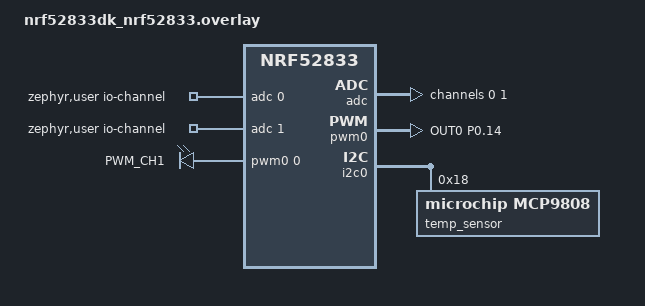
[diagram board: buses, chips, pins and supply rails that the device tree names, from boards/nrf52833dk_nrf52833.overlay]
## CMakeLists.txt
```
# SPDX-License-Identifier: Apache-2.0

cmake_minimum_required(VERSION 3.20.0)
find_package(Zephyr REQUIRED HINTS $ENV{ZEPHYR_BASE})
project(ecg-temp-ble-project)

# make sure to add the source code for new libraries
target_sources(app PRIVATE src/main.c src/read_temperature_sensor.c src/ble-lib.c src/heartrate.c)
```

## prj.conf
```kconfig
CONFIG_GPIO=y
CONFIG_LOG=y
CONFIG_ADC=y
CONFIG_PWM=y
CONFIG_SMF=y
CONFIG_SENSOR=y
CONFIG_MAIN_STACK_SIZE=8192
CONFIG_IDLE_STACK_SIZE=2048
CONFIG_LOG_BUFFER_SIZE=8192
CONFIG_I2C=y
CONFIG_EVENTS=y
# CONFIG_KERNEL=y

# Logging Thread Configuration
CONFIG_LOG_PROCESS_THREAD=y
CONFIG_MULTITHREADING=y
CONFIG_LOG_MODE_DEFERRED=y
CONFIG_LOG_FRONTEND_ONLY=n
CONFIG_LOG_MODE_MINIMAL=n
CONFIG_LOG_BUFFER_SIZE=8000
CONFIG_ADC_LOG_LEVEL_DBG=y
CONFIG_LOG_MODE_IMMEDIATE=y
CONFIG_FAULT_DUMP=2
CONFIG_THREAD_STACK_INFO=y
CONFIG_THREAD_ANALYZER=y


# BLE
CONFIG_BT=y
CONFIG_BT_PERIPHERAL=y
CONFIG_BT_DEVICE_NAME="Bytes & Bots"
CONFIG_BT_DEVICE_APPEARANCE=0
CONFIG_BT_MAX_CONN=1
CONFIG_BT_LL_SOFTDEVICE=y
CONFIG_BT_BAS=y 
CONFIG_BT_HRS=y
CONFIG_BT_SETTINGS=y
CONFIG_SETTINGS_RUNTIME=y
CONFIG_SETTINGS=y
CONFIG_SETTINGS_NONE=y

# DIS (Device Information Service)
CONFIG_BT_DIS=y
CONFIG_BT_DIS_SETTINGS=y
CONFIG_BT_DIS_STR_MAX=25
CONFIG_BT_DIS_MODEL="SmartTempSensor"
CONFIG_BT_DIS_MANUF="Future Innovators LLC"
CONFIG_BT_DIS_SERIAL_NUMBER=y
CONFIG_BT_DIS_SERIAL_NUMBER_STR="0001"
CONFIG_BT_DIS_FW_REV=y
CONFIG_BT_DIS_FW_REV_STR="1.0.0" 
CONFIG_BT_DIS_HW_REV=y
CONFIG_BT_DIS_HW_REV_STR="1.0.0"
CONFIG_BT_DIS_SW_REV=y
CONFIG_BT_DIS_SW_REV_STR="1.0.0"
CONFIG_BT_DIS_PNP=y
CONFIG_BT_DIS_PNP_VID_SRC=1
CONFIG_BT_DIS_PNP_VID=0x01FF
```

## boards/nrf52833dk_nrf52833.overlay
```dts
/ {
	aliases {

        // LED aliases
        heartbeat = &led0;  // this corresponds to LED1 on the board
        battery = &led1;  // this corresponds to LED2 on the board
        measure = &led2;  // this corresponds to LED3 on the board
        error = &led3;  // this corresponds to LED4 on the board

        // Button aliases
        measurebutton = &button0;  // Measure button corresponds to SW1 on the board
        clearbutton = &button1; // Clear button corresponds to SW2 on the board
        resetbutton = &button2;  // Reset button corresponds to SW3 on the board

        // ADC channel aliases
        temp = &temp_sensor;
        vadc0 = &vadc0;     // ADC channel 0; measures battery level (P0.02)
        vadc1 = &vadc1;  // ADC channel 2 does a differential measurement on ECG signal (P0.04 and P0.05)


        // PWM channel aliases
        pwm1 = &pwmch1;
    };

zephyr,user {
        io-channels = <&adc 0>, <&adc 1>;
};

pwm {
    compatible = "pwm-leds";
    pwmch1: pwm_1 {
        pwms = < &pwm0 0 PWM_MSEC(1) PWM_POLARITY_NORMAL>;  // 0 - channel
        label = "PWM_CH1";
    };

    };
};

&adc {
    #address-cells = <1>;
    #size-cells = <0>;

    vadc0: channel@0 {
            reg = <0>;  // channel number
            zephyr,reference = "ADC_REF_INTERNAL";  // voltage ref for SA (0.6 V)
            zephyr,gain = "ADC_GAIN_1_5"; // gain factor to scale ref voltage (1/gain)
            zephyr,acquisition-time = <ADC_ACQ_TIME_DEFAULT>;
            zephyr,input-positive = <NRF_SAADC_AIN0>; // P0.02
            zephyr,resolution = <8>;  // bit depth
    };

    vadc1: channel@1 {
        reg = <1>;  // channel number
        zephyr,reference = "ADC_REF_INTERNAL";
        zephyr,gain = "ADC_GAIN_1_5"; // gain factor to scale ref voltage (1/gain)
        zephyr,acquisition-time = <ADC_ACQ_TIME_DEFAULT>; //Use the example
        zephyr,input-positive = <NRF_SAADC_AIN2>; // P0.04
        zephyr,input-negative = <NRF_SAADC_AIN4>; // P0.28
        zephyr,resolution = <8>;  // bit depth
    };
};


&pwm0 {
    compatible = "nordic,nrf-pwm"; // PWM compatible
    reg = <0x4001c000 0x1000>; // PWM base address
    interrupts = <28 NRF_DEFAULT_IRQ_PRIORITY>; // PWM interrupt
    status = "okay"; // Enable the PWM
    #pwm-cells = <3>; // Number of cells in the PWM specifier
    pinctrl-0 = <&pwm0_default>; // Default pin configuration
    pinctrl-1 = <&pwm0_sleep>; // Sleep pin configuration
    pinctrl-names = "default", "sleep"; // Pin configuration names
};

&pinctrl {
    compatible = "nordic,nrf-pinctrl";
    status = "okay";
    pwm0_default: pwm0_default {
        group1 {
            psels = <NRF_PSEL(PWM_OUT0, 0, 14)>; // P0.14, channel 0
            nordic,invert;
        };
    };
    pwm0_sleep: pwm0_sleep {
        group1 {
            psels = <NRF_PSEL(PWM_OUT0, 0, 14)>; // P0.14, channel 0
            low-power-enable;
        };
    };
}; 

/* I2C Pin Mapping
SCK: P0.27
SDA: P0.26
*/

&i2c0 {
    temp_sensor: mcp9808@18{
        compatible = "microchip,mcp9808"; // Device compatible
        reg = <0x18>; // Device address
        status = "okay"; // Enable the device
    };

};
```

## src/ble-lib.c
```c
#include "ble-lib.h"

LOG_MODULE_REGISTER(blelib, LOG_LEVEL_DBG);

// define a semaphore to make sure that bt_init_ok() completes before proceeding
// this is probably overkill, but it's a good practice
static K_SEM_DEFINE(bt_init_ok, 1, 1);

#define DEVICE_NAME CONFIG_BT_DEVICE_NAME
#define DEVICE_NAME_LEN (sizeof(DEVICE_NAME)-1)
#define NOMINAL_BATTERY_VOLT_MV 3700  // this might make more sense to have in main.c

// extern means this is defined elsewhere (in this case, main.c)
extern int32_t temperature_degC;  // temperature data characteristic will read from this variable
extern struct k_event errors; // errors characteristic will read from this variable

enum bt_data_notifications_enabled notifications_enabled;


/* Advertising data */
static const struct bt_data ad[] = {
    BT_DATA_BYTES(BT_DATA_FLAGS, (BT_LE_AD_GENERAL | BT_LE_AD_NO_BREDR)),
    BT_DATA(BT_DATA_NAME_COMPLETE, DEVICE_NAME, DEVICE_NAME_LEN)
};

/* Scan response data */
static const struct bt_data sd[] = {
    BT_DATA_BYTES(BT_DATA_UUID128_ALL, BT_UUID_REMOTE_SERV_VAL), 
};

/* UUID of the Remote Service */
// Project ID: 065 (3rd entry)
// BLE MFG ID = 0x02DF (4th entry)
/*  UUID of Data Characteristic  */
struct bt_uuid_128 remote_temperature_data_uuid = BT_UUID_INIT_128(
    BT_UUID_128_ENCODE(0xe9ea0001, 0xe19b, 0x0065, 0x02DF, 0xc7907585fc48));
/*  UUID of Errors Characteristic  */
struct bt_uuid_128 remote_err_uuid = BT_UUID_INIT_128(
    BT_UUID_128_ENCODE(0xe9ea0002, 0xe19b, 0x0065, 0x02DF, 0xc7907585fc48));
/*  UUID of Message Characteristic   */
struct bt_uuid_128 remote_msg_uuid = BT_UUID_INIT_128(
    BT_UUID_128_ENCODE(0xe9ea0003, 0xe19b, 0x0065, 0x02DF, 0xc7907585fc48));

/* Setup services */
BT_GATT_SERVICE_DEFINE(remote_srv,
    BT_GATT_PRIMARY_SERVICE(BT_UUID_REMOTE_SERVICE),
    BT_GATT_CHARACTERISTIC(&remote_temperature_data_uuid.uuid,
                    BT_GATT_CHRC_READ | BT_GATT_CHRC_NOTIFY,
                    BT_GATT_PERM_READ,
                    read_temperature_data_cb, NULL, &temperature_degC),
    BT_GATT_CCC(ccc_cfg_changed_cb, BT_GATT_PERM_READ | BT_GATT_PERM_WRITE),
    BT_GATT_CHARACTERISTIC(&remote_err_uuid.uuid,
                    BT_GATT_CHRC_READ | BT_GATT_CHRC_NOTIFY,
                    BT_GATT_PERM_WRITE | BT_GATT_PERM_READ,
                    read_error_cb, NULL, &errors.events),
    BT_GATT_CCC(ccc_cfg_changed_cb, BT_GATT_PERM_READ | BT_GATT_PERM_WRITE),
    BT_GATT_CHARACTERISTIC(&remote_msg_uuid.uuid,
                    BT_GATT_CHRC_WRITE_WITHOUT_RESP,
                    BT_GATT_PERM_WRITE,
                    NULL, on_write, NULL),
    BT_GATT_CCC(ccc_cfg_changed_cb, BT_GATT_PERM_READ | BT_GATT_PERM_WRITE),
);

struct bt_conn *current_conn;
struct bt_conn_cb bluetooth_callbacks = {
    .connected = on_connected,
    .disconnected = on_disconnected,
};

struct bt_remote_srv_cb remote_service_callbacks = {
    .notif_changed = on_notif_changed,
    .data_rx = on_data_rx,
};

/* Callbacks */
void on_data_rx(struct bt_conn *conn, const uint8_t *const data, uint16_t len) {
    // copy the data to a temporary buffer and append a NULL character
    uint8_t temp_str[len+1];
    memcpy(temp_str, data, len);
    temp_str[len] = 0x00;  // append NULL character at the end
    LOG_INF("BT received data on conn %p. Len: %d", (void *)conn, len);
    LOG_INF("Data: %s", temp_str);
}

void on_connected(struct bt_conn *conn, uint8_t ret) {
    if (ret) {
        LOG_ERR("Connection error: %d", ret);
        return;
    }
    LOG_INF("BT connected");
    current_conn = bt_conn_ref(conn);
}

void on_disconnected(struct bt_conn *conn, uint8_t reason) {
    LOG_INF("BT disconnected (reason: %d)", reason);
    if (current_conn) {
        bt_conn_unref(current_conn);
        current_conn = NULL;
    }
}

void on_notif_changed(enum bt_data_notifications_enabled status) {
    if (status == BT_DATA_NOTIFICATIONS_ENABLED) {
        LOG_INF("BT notifications enabled");
    } else {
        LOG_INF("BT notifications disabled");
    }
}

const struct bt_gatt_attr *attr = &remote_srv.attrs[2];

void ccc_cfg_changed_cb(const struct bt_gatt_attr *attr, uint16_t value) {
    bool notif_enabled = (value == BT_GATT_CCC_NOTIFY);
    LOG_INF("Notifications: %s", notif_enabled? "enabled":"disabled");
    notifications_enabled = notif_enabled? BT_DATA_NOTIFICATIONS_ENABLED:BT_DATA_NOTIFICATIONS_DISABLED;
    if (remote_service_callbacks.notif_changed) {
        remote_service_callbacks.notif_changed(notifications_enabled);
    }
}

/* These callbacks are used when a read request is made to the remote service */
ssize_t read_temperature_data_cb(struct bt_conn *conn, const struct bt_gatt_attr *attr, void *buf, uint16_t len, uint16_t offset) {
    return bt_gatt_attr_read(conn, attr, buf, len, offset, &temperature_degC, sizeof(temperature_degC));
}

ssize_t read_error_cb(struct bt_conn *conn, const struct bt_gatt_attr *attr, void *buf, uint16_t len, uint16_t offset) {
    return bt_gatt_attr_read(conn, attr, buf, len, offset, &errors.events, sizeof(errors.events));
}

ssize_t on_write(struct bt_conn *conn, const struct bt_gatt_attr *attr, const void *buf, uint16_t len, uint16_t offset, uint8_t flags) {
    LOG_INF("Received data, handle %d, conn %p", attr->handle, (void *)conn);
    
    if (remote_service_callbacks.data_rx) {
        remote_service_callbacks.data_rx(conn, buf, len);
    }
    return len;
}


void on_sent(struct bt_conn *conn, void *user_data) {
    ARG_UNUSED(user_data);
    LOG_INF("Notification sent on connection %p", (void *)conn);
}

void bt_ready(int ret) {
    if (ret) {
        LOG_ERR("bt_enable returned %d", ret);
    }
    // release the thread once initialized
    k_sem_give(&bt_init_ok);
}

static int settings_runtime_load(void)
{
#if defined(CONFIG_BT_DIS_SETTINGS)
	settings_runtime_set("bt/dis/model",
			     CONFIG_BT_DIS_MODEL,
			     sizeof(CONFIG_BT_DIS_MODEL));
	settings_runtime_set("bt/dis/manuf",
			     CONFIG_BT_DIS_MANUF,
			     sizeof(CONFIG_BT_DIS_MANUF));
#if defined(CONFIG_BT_DIS_SERIAL_NUMBER)
	settings_runtime_set("bt/dis/serial",
			     CONFIG_BT_DIS_SERIAL_NUMBER_STR,
			     sizeof(CONFIG_BT_DIS_SERIAL_NUMBER_STR));
#endif
#if defined(CONFIG_BT_DIS_SW_REV)
	settings_runtime_set("bt/dis/sw",
			     CONFIG_BT_DIS_SW_REV_STR,
			     sizeof(CONFIG_BT_DIS_SW_REV_STR));
#endif
#if defined(CONFIG_BT_DIS_FW_REV)
	settings_runtime_set("bt/dis/fw",
			     CONFIG_BT_DIS_FW_REV_STR,
			     sizeof(CONFIG_BT_DIS_FW_REV_STR));
#endif
#if defined(CONFIG_BT_DIS_HW_REV)
	settings_runtime_set("bt/dis/hw",
			     CONFIG_BT_DIS_HW_REV_STR,
			     sizeof(CONFIG_BT_DIS_HW_REV_STR));
#endif
#endif
	return 0;
}


int bluetooth_init(struct bt_conn_cb *bt_cb, struct bt_remote_srv_cb *remote_cb) {
    LOG_INF("Initializing Bluetooth");
    if ((bt_cb == NULL) | (remote_cb == NULL)) {
        LOG_ERR("Invalid callback(s)");
        return -NRFX_ERROR_NULL;
    }
    bt_conn_cb_register(bt_cb);
    remote_service_callbacks.notif_changed = remote_cb->notif_changed;
    remote_service_callbacks.data_rx = remote_cb->data_rx;
    int ret = bt_enable(bt_ready);
    if (ret) {
        LOG_ERR("bt_enable returned %d", ret);
        return ret;
    }

    // hold the thread until Bluetooth is initialized
    k_sem_take(&bt_init_ok, K_FOREVER);
    if (IS_ENABLED(CONFIG_BT_SETTINGS)) {
        settings_load();
    }
    ret = bt_le_adv_start(BT_LE_ADV_CONN, ad, ARRAY_SIZE(ad), sd, ARRAY_SIZE(sd));
    if (ret) {
        LOG_ERR("Could not start advertising (ret = %d)", ret);
        return ret;
    }
    return ret;
}

/* BAS Functions */
uint8_t bluetooth_get_battery_level(void) {
    uint8_t battery_level;
    battery_level =  bt_bas_get_battery_level();
    LOG_INF("Battery Level: %d pct", battery_level);
    return battery_level;
}

void bluetooth_set_battery_level(int32_t raw_mV) {
    LOG_DBG("Raw Battery: %d mV", raw_mV);
    
    float normalized_level = (float)raw_mV * 100 / NOMINAL_BATTERY_VOLT_MV; //100
    
    LOG_INF("Normalized Battery Level: %lf", (double)normalized_level);
    int err = bt_bas_set_battery_level((int)normalized_level);
    if (err) {
        LOG_ERR("BAS set error (err = %d)", err);
    }
}
void notify_heart_rate(uint8_t heart_rate) {
    if (bt_hrs_notify(heart_rate) == 0) {
        LOG_INF("Heart rate notified: %d BPM", heart_rate);
    } else {
        LOG_ERR("Failed to notify heart rate.");
    }
}

int send_BT_notification(struct bt_conn *conn, uint8_t *value, uint16_t length) {
    if (!conn) {
        LOG_ERR("Invalid connection");
        return -EINVAL;
    }

    struct bt_gatt_notify_params params = {0};

    params.attr = &remote_srv.attrs[2]; // Update index based on your characteristic
    params.data = value;
    params.len = length;

    int ret = bt_gatt_notify_cb(conn, &params);
    if (ret) {
        LOG_ERR("Failed to send notification: %d", ret);
    } else {
        LOG_INF("Notification sent successfully");
    }
    return ret;
}

void check_and_send_temperature_notification(void) {
    if (current_conn && notifications_enabled == BT_DATA_NOTIFICATIONS_ENABLED) {
        int ret = send_BT_notification(current_conn, (uint8_t *)&temperature_degC, sizeof(temperature_degC));
        if (ret) {
            LOG_ERR("Failed to send temperature notification: %d", ret);
        } else {
            LOG_INF("Temperature notification sent.");
        }
    } else {
        LOG_WRN("No active connection or notifications not enabled, skipping notification.");
    }
}

/* Declare ecg_attrs and ecg_data */
static struct bt_gatt_attr ecg_attrs[] = {
    /* Add your ECG attributes here */
};

static uint8_t ecg_data[20]; // Adjust the size as needed

void send_ecg_notification(void) {
    if (current_conn && notifications_enabled == BT_DATA_NOTIFICATIONS_ENABLED) {
        struct bt_gatt_notify_params params = {0}; // Initialize the params structure

        params.attr = &ecg_attrs[0]; // Update index based on your ECG characteristic
        params.data = ecg_data; // Use the ECG data buffer
        params.len = sizeof(ecg_data); // Set the length of the data to send

        int ret = bt_gatt_notify_cb(current_conn, &params);
        if (ret < 0) {
            LOG_ERR("Failed to send ECG notification: %d", ret);
        } else {
            LOG_INF("ECG notification sent.");
        }
    } else {
        LOG_WRN("No active connection or notifications not enabled, ECG notification skipped.");
    }
}

void send_error_notification(void) {
    if (current_conn) {
        int ret = bt_gatt_notify(current_conn, &remote_err_uuid, &errors.events, sizeof(errors.events));
        if (ret < 0) {
            LOG_ERR("Failed to send error notification: %d", ret);
        } else {
            LOG_INF("Error notification sent.");
        }
    } else {
        LOG_WRN("No active connection, error notification skipped.");
    }
}
```

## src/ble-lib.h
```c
#ifndef BLE_LIB_H
#define BLE_LIB_H

#include <zephyr/kernel.h>
#include <zephyr/device.h>
#include <zephyr/logging/log.h>
#include <zephyr/bluetooth/bluetooth.h>
#include <zephyr/bluetooth/uuid.h>
#include <zephyr/bluetooth/gatt.h>
#include <zephyr/bluetooth/hci.h>
#include <zephyr/settings/settings.h>
#include <zephyr/bluetooth/services/bas.h> // Battery Service
#include <zephyr/bluetooth/services/hrs.h> // Heart Rate Service

/* UUID of the Remote Service */
// Project ID: 065 (3rd entry)
// MFG ID = 0x02DF (4th entry)

#define BT_UUID_REMOTE_SERV_VAL \
        BT_UUID_128_ENCODE(0xe9ea0000, 0xe19b, 0x0065, 0x02DF, 0xc7907585fc48)

#define BT_UUID_REMOTE_SERVICE          BT_UUID_DECLARE_128(BT_UUID_REMOTE_SERV_VAL)

enum bt_data_notifications_enabled {
    BT_DATA_NOTIFICATIONS_ENABLED,
    BT_DATA_NOTIFICATIONS_DISABLED,
};

struct bt_remote_srv_cb {
    void (*notif_changed)(enum bt_data_notifications_enabled status);
    void (*data_rx)(struct bt_conn *conn, const uint8_t *const data, uint16_t len);
};

int bluetooth_init(struct bt_conn_cb *bt_cb, struct bt_remote_srv_cb *remote_cb);
uint8_t bluetooth_get_battery_level(void);
void bluetooth_set_battery_level(int32_t level);

ssize_t on_write(struct bt_conn *conn, const struct bt_gatt_attr *attr, const void *buf, uint16_t len, uint16_t offset, uint8_t flags);
ssize_t read_temperature_data_cb(struct bt_conn *conn, const struct bt_gatt_attr *attr, void *buf, uint16_t len, uint16_t offset);
ssize_t read_error_cb(struct bt_conn *conn, const struct bt_gatt_attr *attr, void *buf, uint16_t len, uint16_t offset);
void ccc_cfg_changed_cb(const struct bt_gatt_attr *attr, uint16_t value);
void on_connected(struct bt_conn *conn, uint8_t ret);
void on_disconnected(struct bt_conn *conn, uint8_t reason);
void on_data_rx(struct bt_conn *conn, const uint8_t *const data, uint16_t len);
void on_notif_changed(enum bt_data_notifications_enabled status);
int send_BT_notification(struct bt_conn *conn, uint8_t *value, uint16_t length);

extern const struct bt_gatt_attr *attr;
extern struct bt_conn *current_conn;
extern struct bt_conn_cb bluetooth_callbacks;
extern struct bt_remote_srv_cb remote_service_callbacks;
extern struct bt_uuid_128 remote_err_uuid;
extern struct bt_uuid_128 remote_serv_uuid;
extern struct bt_uuid_128 remote_temperature_data_uuid;
extern struct bt_uuid_128 remote_msg_uuid;

#endif
```

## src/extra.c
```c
#include <stdint.h>
#include <stdbool.h>
#include <math.h>

#define ECG_BUFFER_SIZE 256
#define SAMPLE_RATE 250 // Sample rate in Hz
#define HEART_RATE_BUFFER_SIZE 10 // Number of heart rate samples for averaging
#define THRESHOLD 0.5 // Threshold for peak detection
#define DC_DRIFT_REMOVAL_FACTOR 0.01 // Factor for DC removal

static float ecg_buffer[ECG_BUFFER_SIZE]; // Buffer for raw ECG data
static float filtered_ecg[ECG_BUFFER_SIZE]; // Buffer for filtered ECG data
static uint32_t heart_rate_samples[HEART_RATE_BUFFER_SIZE]; // Buffer for heart rate samples
static uint32_t sample_index = 0;
static uint32_t last_peak_time = 0;
static uint32_t heart_rate_index = 0;
static float dc_offset = 0.0;

// Function to apply a simple high-pass filter to remove DC drift
void high_pass_filter(float *input, float *output, size_t size) {
    for (size_t i = 0; i < size; i++) {
        dc_offset += DC_DRIFT_REMOVAL_FACTOR * (input[i] - dc_offset);
        output[i] = input[i] - dc_offset; // Subtract the DC offset
    }
}

// Function to detect R-peaks in the filtered ECG signal
bool detect_r_peak(float *signal, size_t size, uint32_t *peak_time) {
    for (size_t i = 1; i < size - 1; i++) {
        // Simple peak detection
        if (signal[i] > THRESHOLD && signal[i] > signal[i - 1] && signal[i] > signal[i + 1]) {
            *peak_time = i; // Store the peak time
            return true; // Peak detected
        }
    }
    return false; // No peak detected
}

// Function to calculate heart rate from detected peaks
void calculate_heart_rate(uint32_t current_time) {
    if (last_peak_time > 0) {
        uint32_t interval = current_time - last_peak_time; // Time between peaks in ms
        uint32_t heart_rate = (60 * 1000) / interval; // Convert to beats per minute

        // Store the heart rate sample
        heart_rate_samples[heart_rate_index] = heart_rate;
        heart_rate_index = (heart_rate_index + 1) % HEART_RATE_BUFFER_SIZE;

        // Calculate average heart rate
        uint32_t sum = 0;
        for (size_t i = 0; i < HEART_RATE_BUFFER_SIZE; i++) {
            sum += heart_rate_samples[i];
        }
        uint32_t average_heart_rate = sum / HEART_RATE_BUFFER_SIZE;

        // Log the average heart rate
        LOG_INF("Average Heart Rate: %d bpm", average_heart_rate);
    }
}


#define ECG_BUFFER_SIZE 256
#define SAMPLE_RATE 250 // Sample rate in Hz
#define HEART_RATE_BUFFER_SIZE 10 // Number of heart rate samples for averaging
#define THRESHOLD 0.5 // Threshold for peak detection
#define DC_DRIFT_REMOVAL_FACTOR 0.01 // Factor for DC removal

static float ecg_buffer[ECG_BUFFER_SIZE]; // Buffer for raw ECG data
static float filtered_ecg[ECG_BUFFER_SIZE]; // Buffer for filtered ECG data
static uint32_t heart_rate_samples[HEART_RATE_BUFFER_SIZE]; // Buffer for heart rate samples
static uint32_t sample_index = 0;
static uint32_t last_peak_time = 0;
static uint32_t heart_rate_index = 0;
static float dc_offset = 0.0;

// Function to apply a simple high-pass filter to remove DC drift
void high_pass_filter(float *input, float *output, size_t size) {
    for (size_t i = 0; i < size; i++) {
        dc_offset += DC_DRIFT_REMOVAL_FACTOR * (input[i] - dc_offset);
        output[i] = input[i] - dc_offset; // Subtract the DC offset
    }
}

// Function to detect R-peaks in the filtered ECG signal
bool detect_r_peak(float *signal, size_t size, uint32_t *peak_time) {
    for (size_t i = 1; i < size - 1; i++) {
        // Simple peak detection
        if (signal[i] > THRESHOLD && signal[i] > signal[i - 1] && signal[i] > signal[i + 1]) {
            *peak_time = i; // Store the peak time
            return true; // Peak detected
        }
    }
    return false; // No peak detected
}

// Function to calculate heart rate from detected peaks
void calculate_heart_rate(uint32_t current_time) {
    if (last_peak_time > 0) {
        uint32_t interval = current_time - last_peak_time; // Time between peaks in ms
        uint32_t heart_rate = (60 * 1000) / interval; // Convert to beats per minute

        // Store the heart rate sample
        heart_rate_samples[heart_rate_index] = heart_rate;
        heart_rate_index = (heart_rate_index + 1) % HEART_RATE_BUFFER_SIZE;

        // Calculate average heart rate
        uint32_t sum = 0;
        for (size_t i = 0; i < HEART_RATE_BUFFER_SIZE; i++) {
            sum += heart_rate_samples[i];
        }
        uint32_t average_heart_rate = sum / HEART_RATE_BUFFER_SIZE;

        // Log the average heart rate
        LOG_INF("Average Heart Rate: %d bpm", average_heart_rate);
    }
}

// Main function to process ECG data
void process_ecg_data(float *raw_ecg_data, size_t size) {
    
    // Step 1: High-pass filter to remove DC drift
    high_pass_filter(raw_ecg_data, filtered_ecg, size);

    // Step 2: Detect R-peaks
    uint32_t peak_time;
    if (detect_r_peak(filtered_ecg, size, &peak_time)) {
        // Step 3: Calculate heart rate
        calculate_heart_rate(peak_time);
        last_peak_time = peak_time; // Update last peak time
    }
}
```

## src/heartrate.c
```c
#include "heartrate.h"
#include <string.h> // For memcpy

void signal(int16_t *data, int size, int duration) {
    for (int i = 0; i < size; i++) {
        int sum = 0;
        int count = 0;
        for (int j = -duration / 2; j <= duration / 2; j++) {
            if (i + j >= 0 && i + j < size) {
                sum += data[i + j];
                count++;
            }
        }
        data[i] = sum / count;
    }
}

int detect_peaks(int16_t *data, int size, int *peak_position, int max_peaks) {
    int num_peaks = 0;
    for (int i = 1; i < size - 1; i++) {
        if (data[i] > -4 && data[i] > data[i - 1] && data[i] > data[i + 1]) {//Need to tune the 200 threshold
            if (num_peaks < max_peaks) {
                peak_position[num_peaks++] = i;
            }
        }
    }
    return num_peaks;
}

int calc_BPM(int *peak_position, int num_peaks) {
    if (num_peaks < 2) {
        return 0; // Not enough peaks detected
    }

    // Calculate time differences between successive peaks
    int total_time_diff = 0;
    for (int i = 1; i < num_peaks; i++) {
        total_time_diff += (peak_position[i] - peak_position[i - 1]);
    }

    // Average time difference in samples
    int avg_time_diff = total_time_diff / (num_peaks - 1);

    // Convert to BPM
    return (60 * ECG_SAMPLE_RATE) / avg_time_diff;
}
```

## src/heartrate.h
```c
#ifndef HEARTRATE_H
#define HEARTRATE_H

#include <stdint.h>

// Define the sample rate 
#define ECG_SAMPLE_RATE 100

// Function prototypes
void signal(int16_t *data, int size, int window_size);
int detect_peaks(int16_t *data, int size, int *peak_position, int max_peaks);
int calc_BPM(int *peak_position, int num_peaks);

#endif // HEARTRATE_H
```

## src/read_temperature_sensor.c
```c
#include "read_temperature_sensor.h"

LOG_MODULE_REGISTER(read_temperature_sensor, LOG_LEVEL_DBG);

int read_temperature_sensor(const struct device *temp_sensor, int32_t *temperature_degC) {
    /*  Fetch-n-get temperature sensor data

        INPUTS:
            temp_sensor (const struct device *) - temperature sensor device
            temperature_degC (int32_t *) - pointer to store temperature in degrees Celsius

        RETURNS:
            0 - success
            Otherwise, error code

    */

    struct sensor_value sensor_vals = {.val1 = 0, .val2 = 0};

    int err = sensor_sample_fetch(temp_sensor);
    if (err != 0) {
        LOG_ERR("Temperature sensor fetch(): %d", err);
        return err;
    }
    else {
        err = sensor_channel_get(temp_sensor, SENSOR_CHAN_AMBIENT_TEMP, &sensor_vals);
        if (err != 0) {
            LOG_ERR("Temperature sensor get(): %d", err);
            return err;
        }
    }
        
        // data returned in kPa
        *temperature_degC = sensor_value_to_float(&sensor_vals);

        LOG_INF("Temperature (deg C): %.2f", sensor_value_to_float(&sensor_vals));

        return 0;
}          
```

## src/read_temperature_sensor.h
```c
#ifndef READ_TEMPERATURE_SENSOR_H
#define READ_TEMPERATURE_SENSOR_H

#include <zephyr/logging/log.h>
#include "zephyr/drivers/sensor.h"


int read_temperature_sensor(const struct device *temp_sensor, int32_t *temperature_degC);

#endif
```
